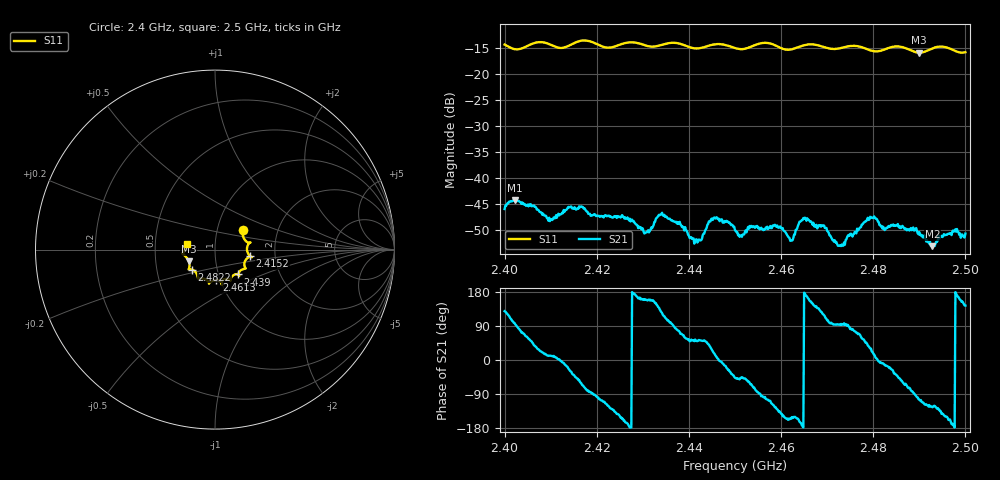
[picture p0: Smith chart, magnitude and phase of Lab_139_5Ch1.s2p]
# Hz S RI R 50
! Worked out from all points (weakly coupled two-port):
!   601 points, 2.4 GHz to 2.5 GHz, reference 50 ohm
!   highest |S21| = -44.17 dB at 2.4022 GHz (marker M1); lowest = -53.0 dB at 2.4928 GHz (marker M2)
!   lowest |S11| = -15.9 dB at 2.4898 GHz (marker M3), VSWR 1.38, Z = 37 - j5.03 ohm
!   |S11| at or under -10 dB: start of sweep to end of sweep
!   S12 and S22 are empty: the file has one direction only
!   S11 on the Smith chart (normalised r, x): 2.4 GHz: 1.33, +0.31; 2.4152 GHz: 1.48, -0.11; 2.439 GHz: 1.24, -0.36; 2.4613 GHz: 0.96, -0.34; 2.4822 GHz: 0.76, -0.17; 2.5 GHz: 0.73, +0.05
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2.4e9  0.1557 0.1114  -0.00318 0.00395  0 0  0 0
2.402167e9  0.1558 0.0753  -0.000812 0.00613  0 0  0 0
2.409833e9  0.189 0.034  0.0038 0.000756  0 0  0 0
2.415167e9  0.1951 -0.0364  0.00391 -0.00354  0 0  0 0
2.416667e9  0.2046 -0.0423  0.00253 -0.00475  0 0  0 0
2.430667e9  0.151 -0.1113  -0.00282 0.00109  0 0  0 0
2.433333e9  0.1319 -0.1319  -0.00333 0.00281  0 0  0 0
2.439e9  0.1286 -0.1385  0.00156 0.00274  0 0  0 0
2.441667e9  0.1025 -0.1431  0.00166 0.002  0 0  0 0
2.4455e9  0.0847 -0.1726  0.00403 0.00125  0 0  0 0
2.45e9  0.0688 -0.1638  0.00217 -0.00231  0 0  0 0
2.458667e9  0.0361 -0.1856  -0.00205 -0.00294  0 0  0 0
2.461333e9  0.00728 -0.1708  -0.00257 -0.00123  0 0  0 0
2.464833e9  -0.0318 -0.1853  -0.00416 -0.000132  0 0  0 0
2.466667e9  -0.0335 -0.1898  -0.00325 0.00187  0 0  0 0
2.472833e9  -0.0756 -0.1599  -0.000121 0.00229  0 0  0 0
2.479167e9  -0.1015 -0.1361  0.00336 0.00222  0 0  0 0
2.482167e9  -0.1281 -0.1118  0.00338 -0.000541  0 0  0 0
2.483333e9  -0.1395 -0.1104  0.00331 -0.00109  0 0  0 0
2.489833e9  -0.1458 -0.0663  -0.000689 -0.00282  0 0  0 0
2.492833e9  -0.1736 -0.0288  -0.00127 -0.00183  0 0  0 0
2.5e9  -0.1583 0.0334  -0.00237 0.00175  0 0  0 0
